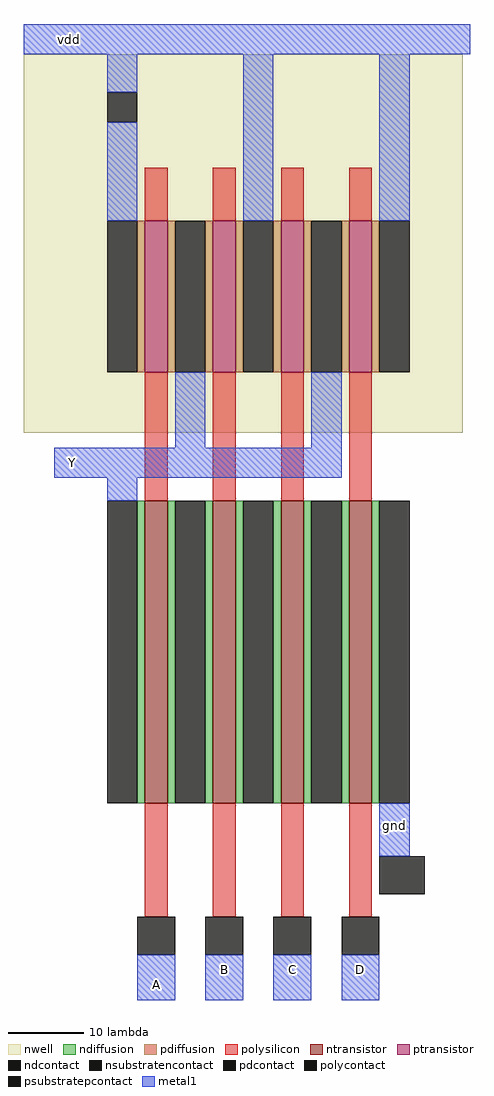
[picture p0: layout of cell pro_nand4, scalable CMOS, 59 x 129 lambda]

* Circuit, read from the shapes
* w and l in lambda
.subckt pro_nand4 A B C D Y gnd vdd
M1 n1 A Y gnd nfet w=40 l=3
M2 n2 B n1 gnd nfet w=40 l=3
M3 n3 C n2 gnd nfet w=40 l=3
M4 gnd D n3 gnd nfet w=40 l=3
M5 Y A vdd vdd pfet w=20 l=3
M6 vdd B Y vdd pfet w=20 l=3
M7 Y C vdd vdd pfet w=20 l=3
M8 vdd D Y vdd pfet w=20 l=3
.ends

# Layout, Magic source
magic
tech scmos
<< nwell >>
rect -11 -8 47 42
<< ntransistor >>
rect 5 -57 8 -17
rect 14 -57 17 -17
rect 23 -57 26 -17
rect 32 -57 35 -17
<< ptransistor >>
rect 5 0 8 20
rect 14 0 17 20
rect 23 0 26 20
rect 32 0 35 20
<< ndiffusion >>
rect 4 -57 5 -17
rect 8 -57 9 -17
rect 13 -57 14 -17
rect 17 -57 18 -17
rect 22 -57 23 -17
rect 26 -57 27 -17
rect 31 -57 32 -17
rect 35 -57 36 -17
<< pdiffusion >>
rect 4 0 5 20
rect 8 0 9 20
rect 13 0 14 20
rect 17 0 18 20
rect 22 0 23 20
rect 26 0 27 20
rect 31 0 32 20
rect 35 0 36 20
<< ndcontact >>
rect 0 -57 4 -17
rect 9 -57 13 -17
rect 18 -57 22 -17
rect 27 -57 31 -17
rect 36 -57 40 -17
<< pdcontact >>
rect 0 0 4 20
rect 9 0 13 20
rect 18 0 22 20
rect 27 0 31 20
rect 36 0 40 20
<< psubstratepcontact >>
rect 36 -69 42 -64
<< nsubstratencontact >>
rect 0 33 4 37
<< polysilicon >>
rect 5 20 8 27
rect 14 20 17 27
rect 23 20 26 27
rect 32 20 35 27
rect 5 -17 8 0
rect 14 -17 17 0
rect 23 -17 26 0
rect 32 -17 35 0
rect 5 -72 8 -57
rect 14 -72 17 -57
rect 23 -72 26 -57
rect 32 -72 35 -57
<< polycontact >>
rect 4 -77 9 -72
rect 13 -77 18 -72
rect 22 -77 27 -72
rect 31 -77 36 -72
<< metal1 >>
rect -11 42 48 46
rect 0 37 4 42
rect 0 20 4 33
rect 18 20 22 42
rect 36 20 40 42
rect 9 -10 13 0
rect 27 -10 31 0
rect -7 -14 31 -10
rect 0 -17 4 -14
rect 36 -64 40 -57
rect 4 -83 9 -77
rect 13 -83 18 -77
rect 22 -83 27 -77
rect 31 -83 36 -77
<< labels >>
rlabel metal1 -7 -14 -2 -10 1 Y
rlabel metal1 -7 42 -3 46 5 vdd
rlabel metal1 36 -62 40 -58 1 gnd
rlabel metal1 4 -83 9 -79 1 A
rlabel metal1 13 -81 18 -77 1 B
rlabel metal1 22 -81 27 -77 1 C
rlabel metal1 31 -81 36 -77 1 D
<< end >>
